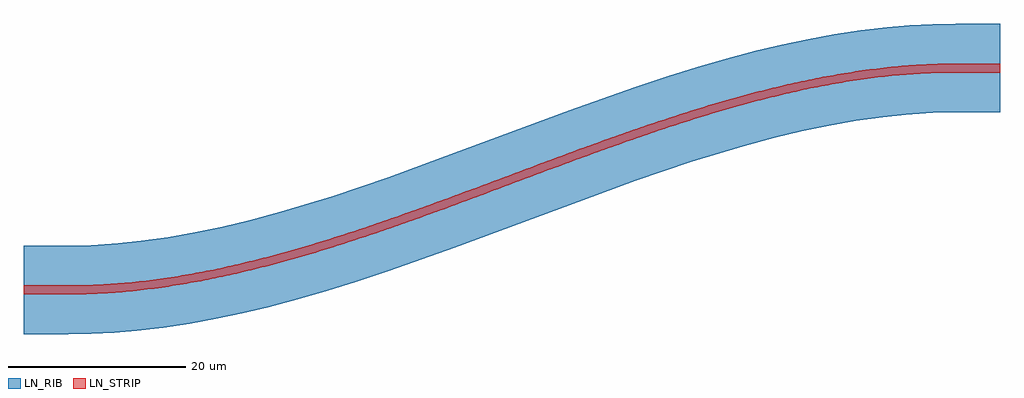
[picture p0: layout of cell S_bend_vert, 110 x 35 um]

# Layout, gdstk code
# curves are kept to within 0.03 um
import gdstk
lib = gdstk.Library(unit=1e-6, precision=1e-09)
def R(c, l, rs):  # rectangles x0, y0, x1, y1
    for r in rs: c.add(gdstk.rectangle(r[:2], r[2:], *l))
def P(c, l, *ps):  # polygons
    for p in ps: c.add(gdstk.Polygon(p, *l))
LN_STRIP = (2, 0)
LN_RIB = (3, 0)

s_bend_vert = lib.new_cell('S_bend_vert')
R(s_bend_vert, LN_STRIP, [(0,-0.5,5,0.5), (105,24.5,110,25.5)])
P(s_bend_vert, LN_STRIP, [(5,-0.5),(7.427,-0.457),(10.258,-0.301),(13.087,-0.039),(15.915,0.323),(18.338,0.708),(21.163,1.238),(24.391,1.942),(27.213,2.636),(30.438,3.51),(33.257,4.338),(36.479,5.347),(40.101,6.55),(46.536,8.824),(60.997,14.205),(67.415,16.53),(73.428,18.572),(78.634,20.182),(82.637,21.292),(86.236,22.177),(89.435,22.862),(92.631,23.441),(95.825,23.903),(99.018,24.241),(101.81,24.425),(105,24.5),(105,25.5),(102.573,25.457),(99.742,25.301),(96.913,25.039),(94.085,24.677),(91.662,24.292),(88.837,23.762),(85.609,23.058),(82.787,22.364),(79.562,21.49),(76.743,20.662),(73.521,19.653),(69.899,18.45),(63.464,16.176),(49.003,10.795),(42.585,8.47),(36.572,6.428),(31.366,4.818),(27.363,3.708),(23.764,2.823),(20.565,2.138),(17.369,1.559),(14.175,1.097),(10.982,0.759),(8.19,0.575),(5,0.5)])
R(s_bend_vert, LN_RIB, [(0,-5,5,5), (105,20,110,30)])
P(s_bend_vert, LN_RIB, [(5,-5),(7.586,-4.954),(10.162,-4.82),(12.729,-4.602),(15.711,-4.249),(18.68,-3.798),(21.634,-3.257),(24.576,-2.633),(27.504,-1.933),(30.835,-1.052),(34.15,-0.093),(37.449,0.932),(41.144,2.152),(48.481,4.743),(62.957,10.132),(68.911,12.286),(75.21,14.419),(81.062,16.198),(84.548,17.137),(87.628,17.878),(90.691,18.522),(93.737,19.061),(96.764,19.485),(99.399,19.757),(102.393,19.946),(105,20),(105,30),(102.414,29.954),(99.838,29.82),(97.271,29.602),(94.289,29.249),(91.32,28.798),(88.366,28.257),(85.424,27.633),(82.496,26.933),(79.165,26.052),(75.85,25.093),(72.551,24.068),(68.856,22.848),(61.519,20.257),(47.043,14.868),(41.089,12.714),(34.79,10.581),(28.938,8.802),(25.452,7.863),(22.372,7.122),(19.309,6.478),(16.263,5.939),(13.236,5.515),(10.601,5.243),(7.607,5.054),(5,5)])

lib.write_gds('S_bend_vert.gds')
